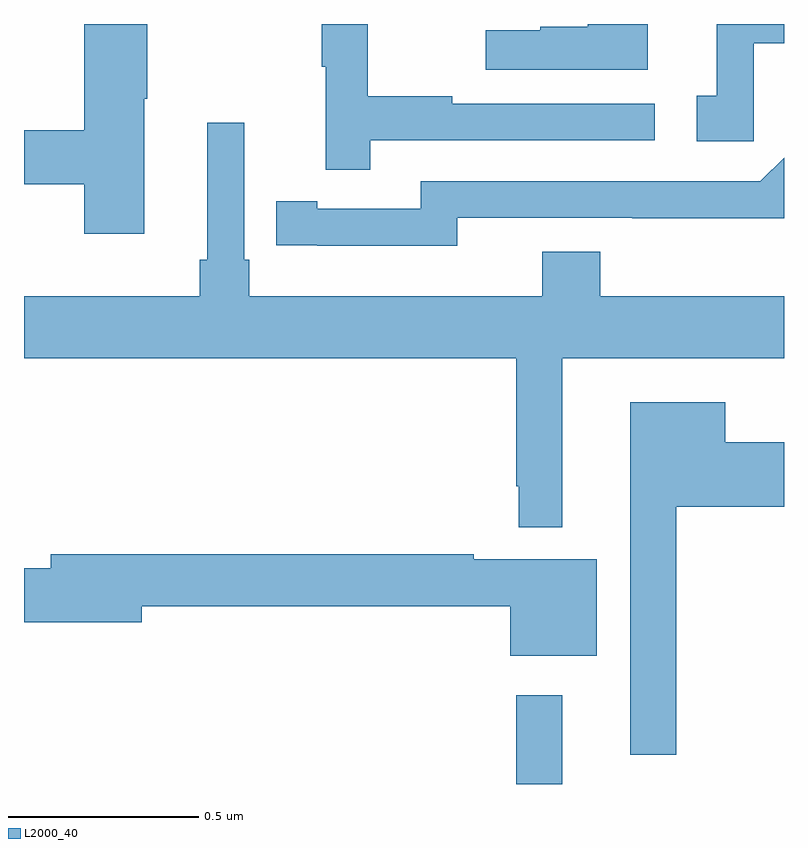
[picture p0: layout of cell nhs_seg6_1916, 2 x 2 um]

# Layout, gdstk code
import gdstk
lib = gdstk.Library(unit=1e-6, precision=1e-09)
def R(c, l, rs):  # rectangles x0, y0, x1, y1
    for r in rs: c.add(gdstk.rectangle(r[:2], r[2:], *l))
def P(c, l, *ps):  # polygons
    for p in ps: c.add(gdstk.Polygon(p, *l))
L2000_40 = (2000, 40)

nhs_seg6_1916 = lib.new_cell('nhs_seg6_1916')
R(nhs_seg6_1916, L2000_40, [(136.296,995.5,136.417,995.734)])
P(nhs_seg6_1916, L2000_40, [(135.316,997.303),(135.324,997.303),(135.324,997.5),(135.158,997.5),(135.158,997.22),(135,997.22),(135,997.078),(135.158,997.078),(135.158,996.948),(135.316,996.948)],
  [(135.911,997.194),(136.66,997.194),(136.66,997.29),(136.127,997.29),(136.127,997.31),(135.904,997.31),(135.904,997.5),(135.783,997.5),(135.783,997.387),(135.794,997.387),(135.794,997.116),(135.911,997.116)],
  [(136.642,997.5),(136.484,997.5),(136.484,997.493),(136.358,997.493),(136.358,997.483),(136.215,997.483),(136.215,997.379),(136.642,997.379)],
  [(136.92,997.449),(137,997.449),(137,997.5),(136.823,997.5),(136.823,997.311),(136.77,997.311),(136.77,997.191),(136.92,997.191)],
  [(136.417,996.62),(137,996.62),(137,996.784),(136.517,996.784),(136.517,996.901),(136.364,996.901),(136.364,996.784),(135.593,996.784),(135.593,996.88),(135.579,996.88),(135.579,997.24),(135.482,997.24),(135.482,996.88),(135.463,996.88),(135.463,996.784),(135,996.784),(135,996.62),(136.296,996.62),(136.296,996.283),(136.302,996.283),(136.302,996.176),(136.417,996.176)],
  [(136.14,996.99),(136.6,996.99),(136.6,996.989),(137,996.989),(137,997.148),(136.938,997.086),(136.044,997.086),(136.044,997.014),(135.772,997.014),(135.772,997.034),(135.664,997.034),(135.664,996.918),(135.772,996.918),(135.772,996.917),(136.14,996.917)],
  [(136.717,996.23),(137,996.23),(137,996.4),(136.846,996.4),(136.846,996.505),(136.595,996.505),(136.595,995.577),(136.717,995.577)],
  [(136.507,996.091),(136.184,996.091),(136.184,996.104),(135.071,996.104),(135.071,996.068),(135,996.068),(135,995.926),(135.31,995.926),(135.31,995.968),(136.28,995.968),(136.28,995.837),(136.507,995.837)])

lib.write_gds('nhs_seg6_1916.gds')
